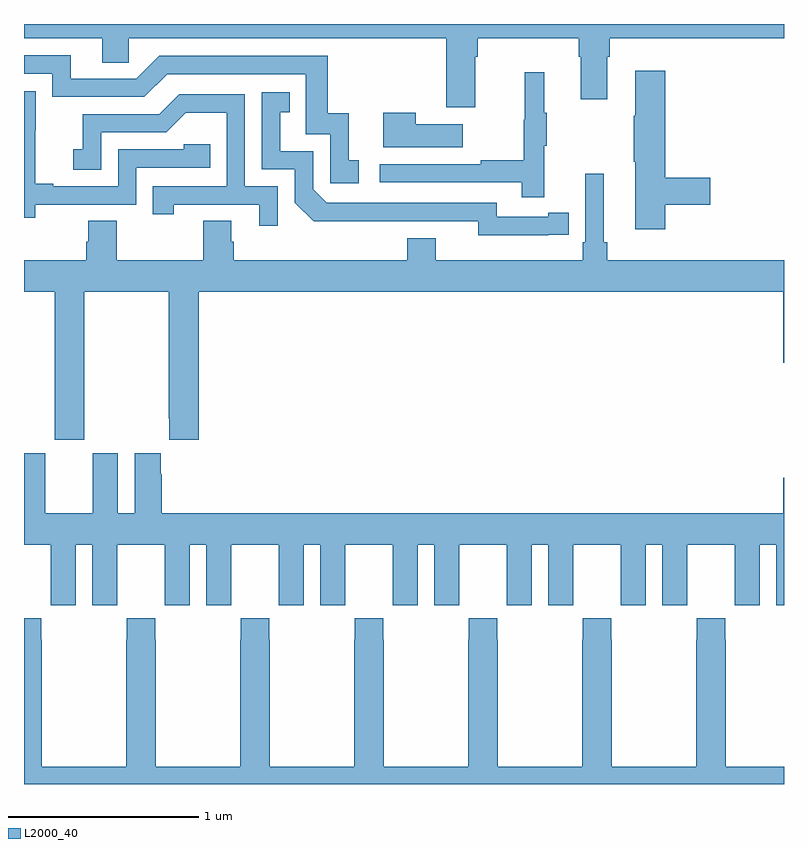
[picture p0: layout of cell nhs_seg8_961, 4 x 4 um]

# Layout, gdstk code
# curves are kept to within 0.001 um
import gdstk
lib = gdstk.Library(unit=1e-6, precision=1e-09)
def P(c, l, *ps):  # polygons
    for p in ps: c.add(gdstk.Polygon(p, *l))
L2000_40 = (2000, 40)

nhs_seg8_961 = lib.new_cell('nhs_seg8_961')
P(nhs_seg8_961, L2000_40, [(175.375,1125.728),(175.388,1125.728),(175.388,1125.824),(175.919,1125.824),(175.919,1125.728),(175.931,1125.728),(175.931,1125.504),(176.071,1125.504),(176.071,1125.728),(176.084,1125.728),(176.084,1125.824),(177,1125.824),(177,1125.9),(173,1125.9),(173,1125.824),(173.411,1125.824),(173.411,1125.697),(173.55,1125.697),(173.55,1125.824),(175.223,1125.824),(175.223,1125.462),(175.375,1125.462)],
  [(174.763,1125.183),(174.71,1125.183),(174.71,1125.43),(174.599,1125.43),(174.599,1125.732),(173.712,1125.732),(173.592,1125.612),(173.245,1125.612),(173.245,1125.735),(173,1125.735),(173,1125.639),(173.148,1125.639),(173.148,1125.516),(173.634,1125.516),(173.754,1125.636),(174.483,1125.636),(174.483,1125.321),(174.612,1125.321),(174.612,1125.063),(174.763,1125.063)],
  [(176.375,1124.95),(176.611,1124.95),(176.611,1125.092),(176.375,1125.092),(176.375,1125.655),(176.216,1125.655),(176.216,1125.416),(176.209,1125.416),(176.209,1125.175),(176.216,1125.175),(176.216,1124.82),(176.375,1124.82)],
  [(175.739,1125.259),(175.75,1125.259),(175.75,1125.433),(175.739,1125.433),(175.739,1125.646),(175.636,1125.646),(175.636,1125.396),(175.629,1125.396),(175.629,1125.182),(175.405,1125.182),(175.405,1125.162),(174.873,1125.162),(174.873,1125.066),(175.621,1125.066),(175.621,1124.988),(175.739,1124.988)],
  [(173.058,1124.949),(173.592,1124.949),(173.592,1125.144),(173.981,1125.144),(173.981,1125.267),(173.841,1125.267),(173.841,1125.24),(173.496,1125.24),(173.496,1125.045),(173.155,1125.045),(173.155,1125.058),(173.06,1125.058),(173.06,1125.341),(173.061,1125.341),(173.061,1125.547),(173,1125.547),(173,1124.881),(173.058,1124.881)],
  [(175.76,1124.79),(175.868,1124.79),(175.868,1124.906),(175.76,1124.906),(175.76,1124.886),(175.488,1124.886),(175.488,1124.958),(174.594,1124.958),(174.522,1125.03),(174.522,1125.231),(174.349,1125.231),(174.349,1125.435),(174.398,1125.435),(174.398,1125.541),(174.252,1125.541),(174.252,1125.135),(174.426,1125.135),(174.426,1124.958),(174.524,1124.861),(175.392,1124.862),(175.392,1124.789)],
  [(174.336,1125.045),(174.162,1125.045),(174.162,1125.531),(173.816,1125.531),(173.711,1125.426),(173.308,1125.426),(173.308,1125.241),(173.259,1125.241),(173.259,1125.132),(173.406,1125.132),(173.406,1125.33),(173.748,1125.33),(173.852,1125.434),(174.066,1125.434),(174.066,1125.045),(173.677,1125.045),(173.677,1124.898),(173.788,1124.898),(173.788,1124.949),(174.239,1124.949),(174.239,1124.838),(174.336,1124.838)],
  [(175.309,1125.373),(175.061,1125.373),(175.061,1125.433),(174.89,1125.433),(174.89,1125.251),(175.309,1125.251)],
  [(173.316,1124.492),(173.761,1124.492),(173.761,1123.825),(173.765,1123.825),(173.765,1123.713),(173.921,1123.713),(173.921,1124.492),(176.996,1124.492),(176.996,1124.118),(177,1124.118),(177,1124.656),(176.069,1124.656),(176.069,1124.752),(176.05,1124.752),(176.05,1125.112),(175.953,1125.112),(175.953,1124.752),(175.94,1124.752),(175.94,1124.656),(175.168,1124.656),(175.168,1124.773),(175.016,1124.773),(175.016,1124.656),(174.104,1124.656),(174.104,1124.754),(174.091,1124.754),(174.091,1124.864),(173.944,1124.864),(173.944,1124.656),(173.487,1124.656),(173.487,1124.864),(173.339,1124.864),(173.339,1124.754),(173.327,1124.754),(173.327,1124.656),(173,1124.656),(173,1124.492),(173.161,1124.492),(173.161,1123.713),(173.316,1123.713)],
  [(173.272,1123.16),(173.36,1123.16),(173.36,1122.84),(173.49,1122.84),(173.49,1122.952),(173.491,1122.952),(173.491,1123.16),(173.741,1123.16),(173.741,1122.952),(173.742,1122.952),(173.742,1122.84),(173.872,1122.84),(173.872,1123.16),(173.96,1123.16),(173.96,1122.84),(174.09,1122.84),(174.09,1122.952),(174.091,1122.952),(174.091,1123.16),(174.341,1123.16),(174.341,1122.952),(174.342,1122.952),(174.342,1122.84),(174.472,1122.84),(174.472,1123.16),(174.56,1123.16),(174.56,1122.84),(174.69,1122.84),(174.69,1122.952),(174.691,1122.952),(174.691,1123.16),(174.941,1123.16),(174.941,1122.952),(174.942,1122.952),(174.942,1122.84),(175.072,1122.84),(175.072,1123.16),(175.16,1123.16),(175.16,1122.84),(175.29,1122.84),(175.29,1122.952),(175.291,1122.952),(175.291,1123.16),(175.541,1123.16),(175.541,1122.952),(175.542,1122.952),(175.542,1122.84),(175.672,1122.84),(175.672,1123.16),(175.76,1123.16),(175.76,1122.84),(175.89,1122.84),(175.89,1122.952),(175.891,1122.952),(175.891,1123.16),(176.141,1123.16),(176.141,1122.952),(176.142,1122.952),(176.142,1122.84),(176.272,1122.84),(176.272,1123.16),(176.36,1123.16),(176.36,1122.84),(176.49,1122.84),(176.49,1122.952),(176.491,1122.952),(176.491,1123.16),(176.741,1123.16),(176.741,1122.952),(176.742,1122.952),(176.742,1122.84),(176.872,1122.84),(176.872,1123.16),(176.96,1123.16),(176.96,1122.84),(177,1122.84),(177,1123.513),(176.996,1123.513),(176.996,1123.324),(173.726,1123.324),(173.726,1123.529),(173.719,1123.529),(173.719,1123.642),(173.582,1123.642),(173.582,1123.324),(173.494,1123.324),(173.494,1123.642),(173.363,1123.642),(173.363,1123.324),(173.113,1123.324),(173.113,1123.642),(173,1123.642),(173,1123.16),(173.141,1123.16),(173.141,1122.952),(173.142,1122.952),(173.142,1122.84),(173.272,1122.84)],
  [(177,1121.992),(176.694,1121.992),(176.694,1122.659),(176.691,1122.659),(176.691,1122.772),(176.541,1122.772),(176.541,1122.659),(176.539,1122.659),(176.539,1121.992),(176.094,1121.992),(176.094,1122.659),(176.091,1122.659),(176.091,1122.772),(175.941,1122.772),(175.941,1122.659),(175.939,1122.659),(175.939,1121.992),(175.494,1121.992),(175.494,1122.659),(175.491,1122.659),(175.491,1122.772),(175.341,1122.772),(175.341,1122.659),(175.339,1122.659),(175.339,1121.992),(174.894,1121.992),(174.894,1122.659),(174.891,1122.659),(174.891,1122.772),(174.741,1122.772),(174.741,1122.659),(174.739,1122.659),(174.739,1121.992),(174.294,1121.992),(174.294,1122.659),(174.291,1122.659),(174.291,1122.772),(174.141,1122.772),(174.141,1122.659),(174.139,1122.659),(174.139,1121.992),(173.694,1121.992),(173.694,1122.659),(173.691,1122.659),(173.691,1122.772),(173.541,1122.772),(173.541,1122.659),(173.539,1122.659),(173.539,1121.992),(173.094,1121.992),(173.094,1122.659),(173.091,1122.659),(173.091,1122.772),(173,1122.772),(173,1121.9),(177,1121.9)])

lib.write_gds('nhs_seg8_961.gds')
